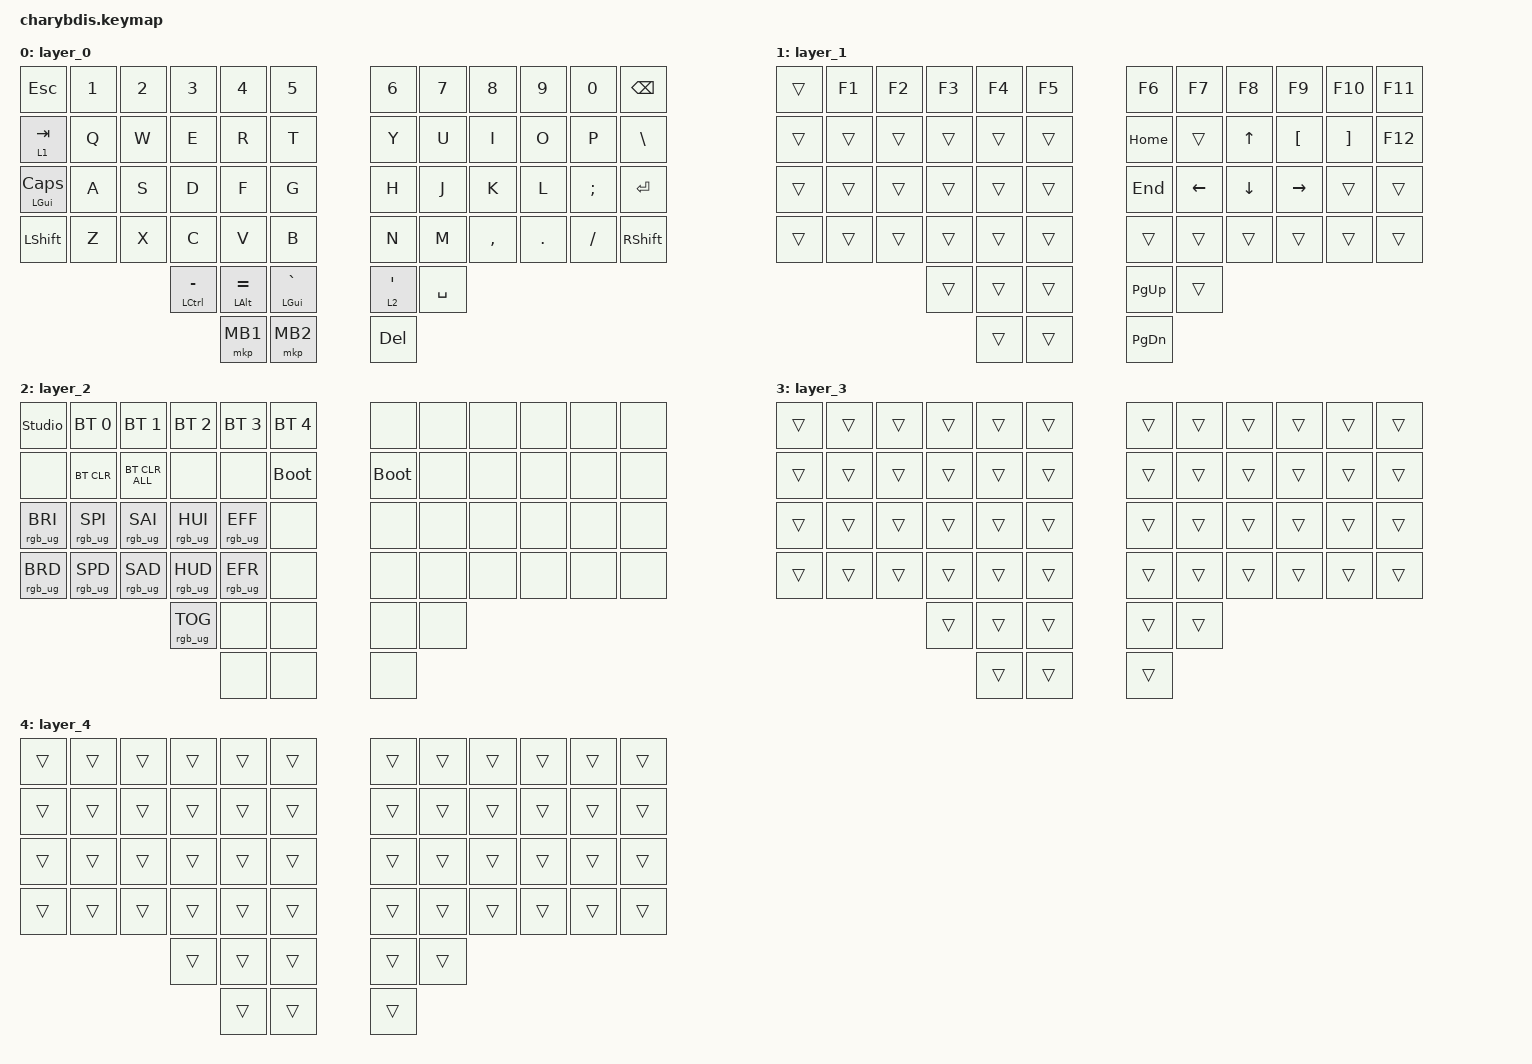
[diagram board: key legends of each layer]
#include <behaviors.dtsi>
#include <dt-bindings/zmk/bt.h>
#include <dt-bindings/zmk/keys.h>
#include <dt-bindings/zmk/pointing.h>
#include <dt-bindings/zmk/rgb.h>

&lt {
    tapping-term-ms = <200>;
    flavor = "balanced";
    quick-tap-ms = <150>;
};

/ {
    macros {
        To1_macro: To1_macro {
            compatible = "zmk,behavior-macro";
            label = "To1_macro";
            #binding-cells = <0>;
            bindings = <&rgb_ug RGB_EFF &rgb_ug RGB_COLOR_HSB(128,100,50) &to 1>;
        };

        To0_macro: To0_macro {
            compatible = "zmk,behavior-macro";
            label = "To0_macro";
            #binding-cells = <0>;
            bindings = <&rgb_ug RGB_EFR &to 0>;
        };

        To2_macro: To2_macro {
            compatible = "zmk,behavior-macro";
            label = "To2_macro";
            #binding-cells = <0>;
            bindings =
                <&to 2>,
                <&macro_wait_time 30>,
                <&rgb_ug RGB_COLOR_HSB(250,100,50)>;
        };
    };

    keymap {
        compatible = "zmk,keymap";

        layer_0 {
            bindings = <
&kp ESC        &kp N1  &kp N2  &kp N3           &kp N4          &kp N5         &kp N6     &kp N7     &kp N8     &kp N9      &kp N0    &kp BACKSPACE
&lt 1 TAB        &kp Q   &kp W   &kp E            &kp R           &kp T          &kp Y      &kp U      &kp I      &kp O       &kp P     &kp BSLH
&mt LGUI CAPS  &kp A   &kp S   &kp D            &kp F           &kp G          &kp H      &kp J      &kp K      &kp L       &kp SEMI  &kp ENTER
&kp LSHFT      &kp Z   &kp X   &kp C            &kp V           &kp B          &kp N      &kp M      &kp COMMA  &kp PERIOD  &kp FSLH  &kp RSHIFT
                               &mt LCTRL MINUS  &mt LALT EQUAL  &mt LGUI GRAVE    &lt 2 SQT  &kp SPACE
                                                &mkp MB1        &mkp MB2       &kp DEL
            >;
        };

        layer_1 {
            bindings = <
&trans  &kp F1  &kp F2  &kp F3  &kp F4  &kp F5    &kp F6     &kp F7    &kp F8    &kp F9     &kp F10   &kp F11
&trans  &trans  &trans  &trans  &trans  &trans    &kp HOME   &trans    &kp UP    &kp LBKT   &kp RBKT  &kp F12
&trans  &trans  &trans  &trans  &trans  &trans    &kp END    &kp LEFT  &kp DOWN  &kp RIGHT  &trans    &trans
&trans  &trans  &trans  &trans  &trans  &trans    &trans     &trans    &trans    &trans     &trans    &trans
                        &trans  &trans  &trans    &kp PG_UP  &trans
                                &trans  &trans    &kp PG_DN
            >;
        };

        layer_2 {
            bindings = <
&studio_unlock   &bt BT_SEL 0     &bt BT_SEL 1     &bt BT_SEL 2     &bt BT_SEL 3     &bt BT_SEL 4    &none        &none  &none  &none  &none  &none
&none            &bt BT_CLR       &bt BT_CLR_ALL   &none            &none            &bootloader     &bootloader  &none  &none  &none  &none  &none
&rgb_ug RGB_BRI  &rgb_ug RGB_SPI  &rgb_ug RGB_SAI  &rgb_ug RGB_HUI  &rgb_ug RGB_EFF  &none           &none        &none  &none  &none  &none  &none
&rgb_ug RGB_BRD  &rgb_ug RGB_SPD  &rgb_ug RGB_SAD  &rgb_ug RGB_HUD  &rgb_ug RGB_EFR  &none           &none        &none  &none  &none  &none  &none
                                                   &rgb_ug RGB_TOG  &none            &none           &none        &none
                                                                    &none            &none           &none
            >;
        };

        layer_3 {
            bindings = <
&trans  &trans  &trans  &trans  &trans  &trans    &trans  &trans  &trans  &trans  &trans  &trans
&trans  &trans  &trans  &trans  &trans  &trans    &trans  &trans  &trans  &trans  &trans  &trans
&trans  &trans  &trans  &trans  &trans  &trans    &trans  &trans  &trans  &trans  &trans  &trans
&trans  &trans  &trans  &trans  &trans  &trans    &trans  &trans  &trans  &trans  &trans  &trans
                        &trans  &trans  &trans    &trans  &trans
                                &trans  &trans    &trans
            >;
        };

        layer_4 {
            bindings = <
&trans  &trans  &trans  &trans  &trans  &trans    &trans  &trans  &trans  &trans  &trans  &trans
&trans  &trans  &trans  &trans  &trans  &trans    &trans  &trans  &trans  &trans  &trans  &trans
&trans  &trans  &trans  &trans  &trans  &trans    &trans  &trans  &trans  &trans  &trans  &trans
&trans  &trans  &trans  &trans  &trans  &trans    &trans  &trans  &trans  &trans  &trans  &trans
                        &trans  &trans  &trans    &trans  &trans
                                &trans  &trans    &trans
            >;
        };

        /* layer_2 {
            bindings = <
&none  &none   &none    &none   &none         &none         &kp N1         &none         &none     &none  &none   &to 0
&none  &none   &none    &none   &none         &none         &none         &none          &rgb_ug RGB_BRD &rgb_ug RGB_BRI  &rgb_ug RGB_EFF   &rgb_ug RGB_TOG
&none  &none   &none    &none   &none         &none         &none         &mkp LCLK     &mkp RCLK  &none  &none   &none
&none  &none   &none    &none   &bt BT_NXT  &bt BT_CLR    &none         &none         &none     &none  &none   &none
                                   &none         &none         &none         &none         &none
                                                 &none         &none         &none
            >;
       
            
        };

       Mouse {
            bindings = <
&none        &none         &none         &none         &none      &none         &none       &none      &none         &none         &none         &none
&none        &bt BT_SEL 0  &bt BT_SEL 1  &bt BT_SEL 3  &none      &bt BT_CLR    &bt BT_CLR  &none      &bt BT_SEL 2  &bt BT_SEL 1  &bt BT_SEL 0  &none
&none        &trans        &trans        &mkp MCLK     &trans     &none         &none       &trans     &mkp MCLK     &trans        &trans        &none
&bootloader  &trans        &mkp RCLK     &mo 4         &mkp LCLK  &mo 5         &mo 5       &mkp LCLK  &mo 4         &mkp RCLK     &trans        &bootloader
                                         &mo 5         &mkp LCLK  &mkp RCLK     &mkp RCLK   &mkp LCLK
                                                       &none      &trans        &trans
            >;

            
        };

        layer_4 {
            bindings = <
&trans  &trans  &trans     &trans     &trans     &trans       &trans     &trans     &trans     &trans     &trans  &trans
&trans  &trans  &trans     &trans     &trans     &trans       &trans     &trans     &trans     &trans     &trans  &trans
&trans  &trans  &trans     &mkp MCLK  &trans     &trans       &trans     &trans     &mkp MCLK  &trans     &trans  &trans
&trans  &trans  &mkp RCLK  &trans     &mkp LCLK  &trans       &trans     &mkp LCLK  &trans     &mkp RCLK  &trans  &trans
                           &trans     &mkp LCLK  &mkp RCLK    &mkp RCLK  &mkp LCLK
                                      &trans     &trans       &trans
            >;
                
                
               
        };

        layer_5 {
            bindings = <
&trans  &trans  &trans     &trans     &trans     &trans       &trans     &trans     &trans     &trans     &trans  &trans
&trans  &trans  &trans     &trans     &trans     &trans       &trans     &trans     &trans     &trans     &trans  &trans
&trans  &trans  &trans     &mkp MCLK  &trans     &trans       &trans     &trans     &mkp MCLK  &trans     &trans  &trans
&trans  &trans  &mkp RCLK  &trans     &mkp LCLK  &trans       &trans     &mkp LCLK  &trans     &mkp RCLK  &trans  &trans
                           &trans     &mkp LCLK  &mkp RCLK    &mkp RCLK  &mkp LCLK
                                      &trans     &trans       &trans
            >;
                
                
        };*/
    };
};
